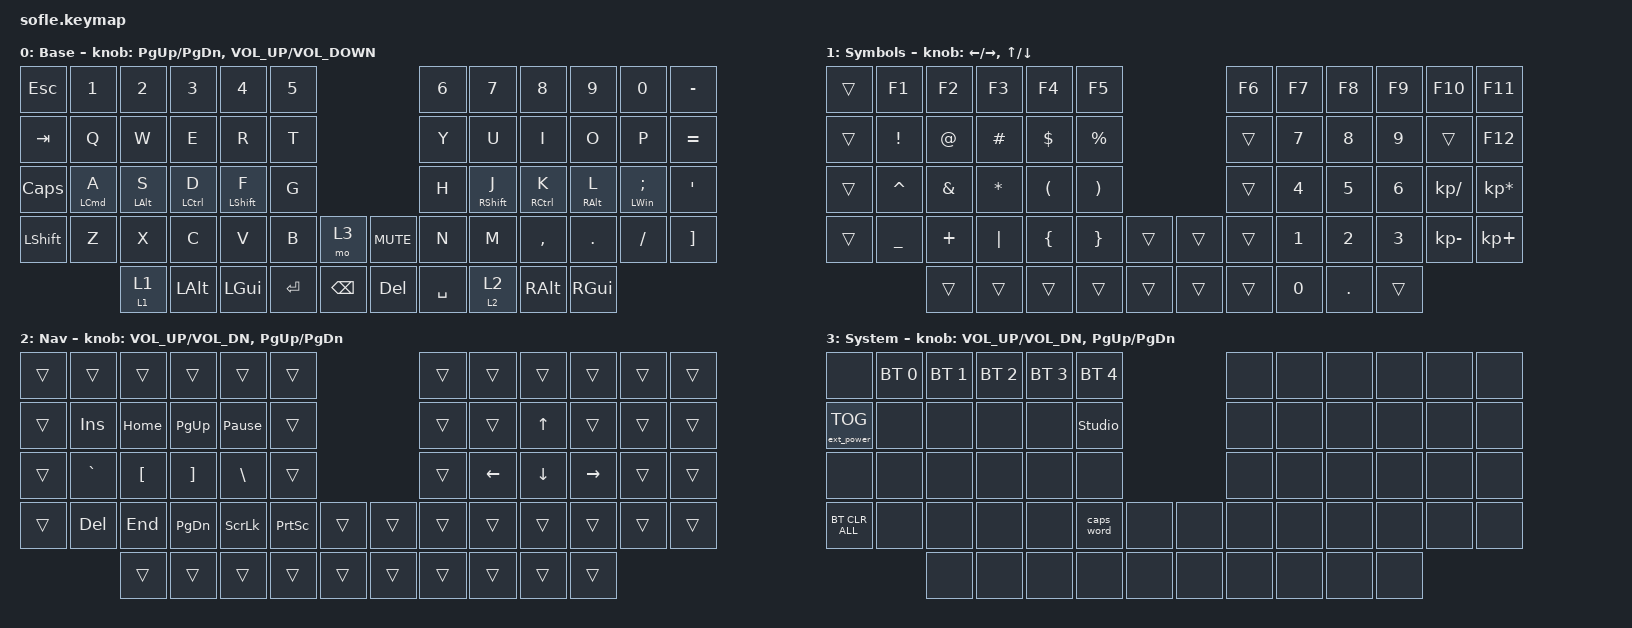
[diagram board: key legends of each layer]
/*
 * Copyright (c) 2020 The ZMK Contributors
 *
 * SPDX-License-Identifier: MIT
 */

#include <behaviors.dtsi>
#include <dt-bindings/zmk/bt.h>
#include <dt-bindings/zmk/ext_power.h>
#include <dt-bindings/zmk/keys.h>

// Encoders

&sensors { triggers-per-rotation = <30>; };

&left_encoder { steps = <60>; };

&right_encoder { steps = <60>; };

#define BASE 0
#define LOWER 1
#define RAISE 2
#define ADJUST 3

/ {
    // Activate ADJUST layer by pressing raise and lower

    conditional_layers {
        compatible = "zmk,conditional-layers";

        adjust_layer {
            if-layers = <LOWER RAISE>;
            then-layer = <ADJUST>;
        };
    };

    combos { compatible = "zmk,combos"; };

    behaviors {
        caps: caps {
            compatible = "zmk,behavior-caps-word";
            label = "CAPS";
            #binding-cells = <0>;
            continue-list = <POUND MINUS BACKSPACE UNDERSCORE>;
        };

        left_hr_mod: left_hr_mod {
            compatible = "zmk,behavior-hold-tap";
            label = "LEFT_HR_MOD";
            #binding-cells = <2>;
            tapping-term-ms = <200>;
            quick-tap-ms = <0>;
            require-prior-idle-ms = <150>;
            flavor = "tap-preferred";
            bindings = <&kp>, <&kp>;
        };

        right_hr_mod: right_hr_mod {
            compatible = "zmk,behavior-hold-tap";
            label = "RIGHT_HR_MOD";
            #binding-cells = <2>;
            tapping-term-ms = <200>;
            quick-tap-ms = <0>;
            require-prior-idle-ms = <150>;
            flavor = "tap-preferred";
            bindings = <&kp>, <&kp>;
        };

        layer_tapNhold: layer_tapNhold {
            compatible = "zmk,behavior-hold-tap";
            label = "LAYER_TAPNHOLD";
            bindings = <&mo>, <&tog>;

            #binding-cells = <2>;
            tapping-term-ms = <300>;
            quick-tap-ms = <0>;
            require-prior-idle-ms = <150>;
        };
    };

    keymap {
        compatible = "zmk,keymap";

        default_layer {
            display-name = "Base";

            // ------------------------------------------------------------------------------------------------------------
            // |   `   |  1  |  2  |  3   |  4   |  5   |                   |  6   |  7    |  8    |  9   |   0   |       |
            // |  ESC  |  Q  |  W  |  E   |  R   |  T   |                   |  Y   |  U    |  I    |  O   |   P   | BKSPC |
            // |  TAB  |  A  |  S  |  D   |  F   |  G   |                   |  H   |  J    |  K    |  L   |   ;   |   '   |
            // | SHIFT |  Z  |  X  |  C   |  V   |  B   |  MUTE  |  |       |  N   |  M    |  ,    |  .   |   /   | SHIFT |
            //               | GUI | ALT  | CTRL | LOWER|  ENTER |  | SPACE | RAISE| CTRL  | ALT   | GUI  |

            bindings = <
&kp ESC         &kp N1               &kp N2                   &kp N3                       &kp N4                &kp N5                                  &kp N6     &kp N7                       &kp N8                 &kp N9                     &kp N0                   &kp MINUS
&kp TAB         &kp Q                &kp W                    &kp E                        &kp R                 &kp T                                   &kp Y      &kp U                        &kp I                  &kp O                      &kp P                    &kp EQUAL
&kp CAPSLOCK    &left_hr_mod LCMD A  &left_hr_mod LEFT_ALT S  &left_hr_mod LEFT_CONTROL D  &left_hr_mod LSHFT F  &kp G                                   &kp H      &right_hr_mod RIGHT_SHIFT J  &right_hr_mod RCTRL K  &right_hr_mod RIGHT_ALT L  &right_hr_mod LWIN SEMI  &kp SQT
&kp LEFT_SHIFT  &kp Z                &kp X                    &kp C                        &kp V                 &kp B      &mo 3            &kp C_MUTE  &kp N      &kp M                        &kp COMMA              &kp DOT                    &kp FSLH                 &kp RIGHT_BRACKET
                                     &layer_tapNhold 1 1      &kp LEFT_ALT                 &kp LEFT_GUI          &kp ENTER  &kp BACKSPACE    &kp DELETE  &kp SPACE  &layer_tapNhold 2 2          &kp RIGHT_ALT          &kp RGUI
            >;

            sensor-bindings =
                <&inc_dec_kp PAGE_UP PAGE_DOWN>,
                <&inc_dec_kp C_VOLUME_UP C_VOLUME_DOWN>;
        };

        lower_layer {
            display-name = "Symbols";

            // TODO: Some binds are waiting for shifted keycode support.
            // ------------------------------------------------------------------------------------------------------------
            // |       |  F1 |  F2 |  F3  |  F4  |  F5  |                   |  F6  |  F7   |  F8   |  F9  |  F10  |  F11  |
            // |   `   |  1  |  2  |  3   |  4   |  5   |                   |  6   |  7    |  8    |  9   |   0   |  F12  |
            // |       |  !  |  @  |  #   |  $   |  %   |                   |  ^   |  &    |  *    |  (   |   )   |   |   |
            // |       |  =  |  -  |  +   |  {   |  }   |        |  |       |  [   |  ]    |  ;    |  :   |   \   |       |
            //               |     |      |      |      |        |  |       |      |       |       |      |

            bindings = <
&trans  &kp F1           &kp F2         &kp F3        &kp F4                &kp F5                                   &kp F6  &kp F7        &kp F8        &kp F9        &kp F10          &kp F11
&trans  &kp EXCLAMATION  &kp AT_SIGN    &kp HASH      &kp DOLLAR            &kp PERCENT                              &trans  &kp NUMBER_7  &kp NUMBER_8  &kp NUMBER_9  &trans           &kp F12
&trans  &kp CARET        &kp AMPERSAND  &kp ASTERISK  &kp LEFT_PARENTHESIS  &kp RIGHT_PARENTHESIS                    &trans  &kp NUMBER_4  &kp NUMBER_5  &kp NUMBER_6  &kp KP_DIVIDE    &kp KP_ASTERISK
&trans  &kp UNDER        &kp PLUS       &kp PIPE      &kp LBRC              &kp RIGHT_BRACE        &trans    &trans  &trans  &kp NUMBER_1  &kp NUMBER_2  &kp NUMBER_3  &kp KP_SUBTRACT  &kp KP_PLUS
                         &trans         &trans        &trans                &trans                 &trans    &trans  &trans  &kp NUMBER_0  &kp PERIOD    &trans
            >;

            sensor-bindings =
                <&inc_dec_kp LEFT_ARROW RIGHT_ARROW>,
                <&inc_dec_kp UP_ARROW DOWN_ARROW>;
        };

        raise_layer {
            display-name = "Nav";

            // ------------------------------------------------------------------------------------------------------------
            // | BTCLR | BT1  | BT2  |  BT3  |  BT4  |  BT5 |                |      |      |       |      |       |       |
            // |       | INS  | PSCR | GUI   |       |      |                | PGUP |      |   ^   |      |       |       |
            // |       | ALT  | CTRL | SHIFT |       | CAPS |                | PGDN |   <- |   v   |  ->  |  DEL  | BKSPC |
            // |       | UNDO | CUT  | COPY  | PASTE |      |      |  |      |      |      |       |      |       |       |
            //                |      |       |       |      |      |  |      |      |      |       |      |

            bindings = <
&trans  &trans      &trans            &trans             &trans           &trans                             &trans  &trans    &trans    &trans     &trans  &trans
&trans  &kp INSERT  &kp HOME          &kp PAGE_UP        &kp PAUSE_BREAK  &trans                             &trans  &trans    &kp UP    &trans     &trans  &trans
&trans  &kp GRAVE   &kp LEFT_BRACKET  &kp RIGHT_BRACKET  &kp BACKSLASH    &trans                             &trans  &kp LEFT  &kp DOWN  &kp RIGHT  &trans  &trans
&trans  &kp DELETE  &kp END           &kp PAGE_DOWN      &kp SCROLLLOCK   &kp PRINTSCREEN  &trans    &trans  &trans  &trans    &trans    &trans     &trans  &trans
                    &trans            &trans             &trans           &trans           &trans    &trans  &trans  &trans    &trans    &trans
            >;

            sensor-bindings = <&inc_dec_kp C_VOL_UP C_VOL_DN &inc_dec_kp PG_UP PG_DN>;
        };

        adjust_layer {
            // ----------------------------------------------------------------------------------------------------------------------------
            // | BTCLR  |  BT1    |  BT2    |   BT3   |   BT4   |   BT5   |                  |      |      |       |      |       |       |
            // | EXTPWR | RGB_HUD | RGB_HUI | RGB_SAD | RGB_SAI | RGB_EFF |                  |      |      |       |      |       |       |
            // |        | RGB_BRD | RGB_BRI |         |         |         |                  |      |      |       |      |       |       |
            // |        |         |         |         |         |         | RGB_TOG | |      |      |      |       |      |       |       |
            //                    |         |         |         |         |         | |      |      |      |       |      |

            display-name = "System";
            bindings = <
&none              &bt BT_SEL 0  &bt BT_SEL 1  &bt BT_SEL 2  &bt BT_SEL 3  &bt BT_SEL 4                    &none  &none  &none  &none  &none  &none
&ext_power EP_TOG  &none         &none         &none         &none         &studio_unlock                  &none  &none  &none  &none  &none  &none
&none              &none         &none         &none         &none         &none                           &none  &none  &none  &none  &none  &none
&bt BT_CLR_ALL     &none         &none         &none         &none         &caps_word      &none    &none  &none  &none  &none  &none  &none  &none
                                 &none         &none         &none         &none           &none    &none  &none  &none  &none  &none
            >;

            sensor-bindings = <&inc_dec_kp C_VOL_UP C_VOL_DN &inc_dec_kp PG_UP PG_DN>;
        };
    };
};
